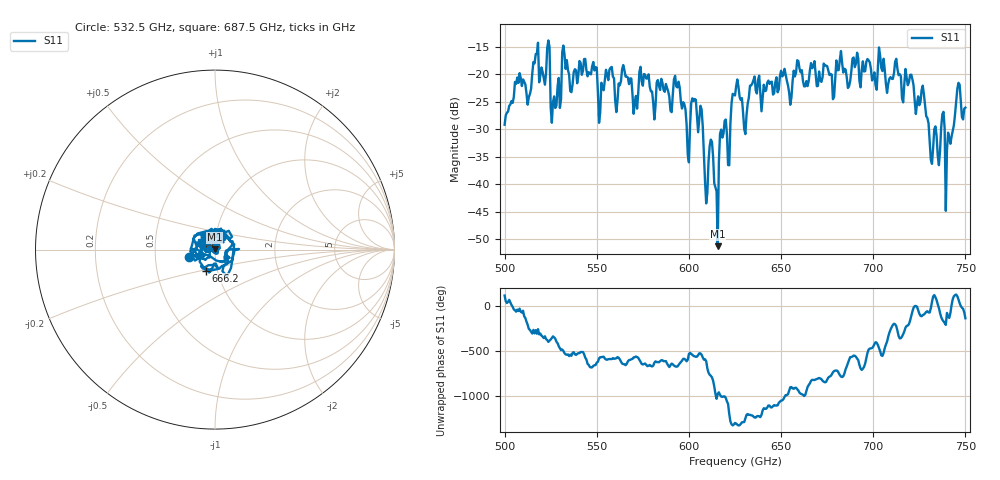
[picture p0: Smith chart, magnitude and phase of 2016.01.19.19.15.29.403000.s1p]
!Created with skrf (http://scikit-rf.org).
# GHz S RI R 50.0
!freq ReS11 ImS11
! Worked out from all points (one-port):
!   401 points, 500 GHz to 750 GHz, reference 50 ohm
!   lowest |S11| = -51.3 dB at 615.6 GHz (marker M1), VSWR 1.01, Z = 50 + j0.269 ohm
!   |S11| at or under -10 dB: start of sweep to end of sweep
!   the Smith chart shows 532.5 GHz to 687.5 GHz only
!   S11 on the Smith chart (normalised r, x): 532.5 GHz: 0.74, -0.06; 666.2 GHz: 0.88, -0.21; 687.5 GHz: 0.86, +0.07
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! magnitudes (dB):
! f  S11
! 500 GHz  -29.2
! 506.9 GHz  -20.6
! 513.1 GHz  -24.2
! 516.9 GHz  -16.3
! 523.1 GHz  -15.1
! 526.2 GHz  -25.0
! 531.2 GHz  -16.0
! 532.5 GHz  -16.4
! 562.5 GHz  -22.0
! 593.8 GHz  -22.4
! 599.4 GHz  -34.6
! 602.5 GHz  -24.8
! 615.6 GHz  -51.3
! 618.1 GHz  -31.5
! 621.9 GHz  -36.5
! 625 GHz  -23.8
! 630.6 GHz  -30.9
! 634.4 GHz  -21.7
! 656.2 GHz  -21.2
! 666.2 GHz  -17.9
! 687.5 GHz  -21.2
! 718.8 GHz  -22.0
! 727.5 GHz  -23.6
! 731.9 GHz  -36.3
! 737.5 GHz  -27.2
! 740.6 GHz  -30.6
! 746.2 GHz  -21.5
! 750 GHz  -26.0
